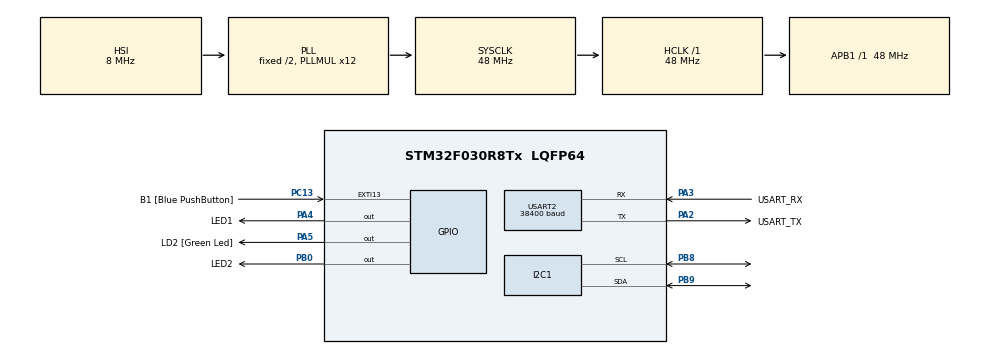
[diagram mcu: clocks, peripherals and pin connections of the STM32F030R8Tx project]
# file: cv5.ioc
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Dma.Request0=USART2_RX
Dma.USART2_RX.0.Direction=DMA_PERIPH_TO_MEMORY
Dma.USART2_RX.0.Instance=DMA1_Channel5
Dma.USART2_RX.0.MemDataAlignment=DMA_MDATAALIGN_BYTE
Dma.USART2_RX.0.MemInc=DMA_MINC_ENABLE
Dma.USART2_RX.0.Mode=DMA_CIRCULAR
Dma.USART2_RX.0.PeriphDataAlignment=DMA_PDATAALIGN_BYTE
Dma.USART2_RX.0.PeriphInc=DMA_PINC_DISABLE
Dma.USART2_RX.0.Priority=DMA_PRIORITY_LOW
I2C1.Timing=0x00201D2B
Mcu.Family=STM32F0
Mcu.Name=STM32F030R8Tx
Mcu.Package=LQFP64
NVIC.DMA1_Channel4_5_IRQn=true\:0\:0\:false\:false\:true\:false\:true\:true
PA13.GPIO_Label=TMS
PA13.Mode=Serial_Wire
PA13.Signal=SYS_SWDIO
PA14.GPIO_Label=TCK
PA14.Mode=Serial_Wire
PA14.Signal=SYS_SWCLK
PA2.GPIO_Label=USART_TX
PA2.GPIO_Mode=GPIO_MODE_AF_PP
PA2.GPIO_PuPd=GPIO_NOPULL
PA2.GPIO_Speed=GPIO_SPEED_FREQ_LOW
PA2.Mode=Asynchronous
PA2.Signal=USART2_TX
PA3.GPIO_Label=USART_RX
PA3.GPIO_Mode=GPIO_MODE_AF_PP
PA3.GPIO_PuPd=GPIO_NOPULL
PA3.GPIO_Speed=GPIO_SPEED_FREQ_LOW
PA3.Mode=Asynchronous
PA3.Signal=USART2_RX
PA4.GPIO_Label=LED1
PA4.Signal=GPIO_Output
PA5.GPIO_Label=LD2 [Green Led]
PA5.GPIO_Mode=GPIO_MODE_OUTPUT_PP
PA5.GPIO_PuPd=GPIO_NOPULL
PA5.GPIO_Speed=GPIO_SPEED_FREQ_LOW
PA5.Signal=GPIO_Output
PB0.GPIO_Label=LED2
PB0.Signal=GPIO_Output
PB8.Mode=I2C
PB8.Signal=I2C1_SCL
PB9.Mode=I2C
PB9.Signal=I2C1_SDA
PC13.GPIO_Label=B1 [Blue PushButton]
PC13.GPIO_ModeDefaultEXTI=GPIO_MODE_IT_FALLING
PC13.Signal=GPXTI13
PC14-OSC32_IN.Mode=LSE-External-Oscillator
PC14-OSC32_IN.Signal=RCC_OSC32_IN
PC15-OSC32_OUT.Mode=LSE-External-Oscillator
PC15-OSC32_OUT.Signal=RCC_OSC32_OUT
PF0-OSC_IN.Mode=HSE-External-Clock-Source
PF0-OSC_IN.Signal=RCC_OSC_IN
PF1-OSC_OUT.Signal=RCC_OSC_OUT
ProjectManager.HeapSize=0x200
ProjectManager.StackSize=0x400
ProjectManager.TargetToolchain=STM32CubeIDE
RCC.AHBFreq_Value=48000000
RCC.APB1Freq_Value=48000000
RCC.APB1TimFreq_Value=48000000
RCC.HCLKFreq_Value=48000000
RCC.PLLMUL=RCC_PLL_MUL12
RCC.SYSCLKFreq_VALUE=48000000
RCC.SYSCLKSource=RCC_SYSCLKSOURCE_PLLCLK
USART2.BaudRate=38400
USART2.VirtualMode-Asynchronous=VM_ASYNC
board=NUCLEO-F030R8

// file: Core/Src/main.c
/* USER CODE BEGIN Header */
/**
 ******************************************************************************
 * @file           : main.c
 * @brief          : Main program body
 ******************************************************************************
 * @attention
 *
 * Copyright (c) 2024 STMicroelectronics.
 * All rights reserved.
 *
 * This software is licensed under terms that can be found in the LICENSE file
 * in the root directory of this software component.
 * If no LICENSE file comes with this software, it is provided AS-IS.
 *
 ******************************************************************************
 */
/* USER CODE END Header */
#include "main.h"

/* USER CODE BEGIN Includes */
#include <string.h>
#include <stdio.h>
#include <stdlib.h>
/* USER CODE END Includes */

I2C_HandleTypeDef hi2c1;

UART_HandleTypeDef huart2;
DMA_HandleTypeDef hdma_usart2_rx;

/* USER CODE BEGIN PV */
#define RX_BUFFER_LEN 64
#define CMD_BUFFER_LEN 128
static uint8_t uart_rx_buf[RX_BUFFER_LEN];
static volatile uint16_t uart_rx_read_ptr = 0;
#define uart_rx_write_ptr (RX_BUFFER_LEN - hdma_usart2_rx.Instance->CNDTR)
#define EEPROM_ADDR 0xA0
/* USER CODE END PV */

void SystemClock_Config(void);
static void MX_GPIO_Init(void);
static void MX_DMA_Init(void);
static void MX_USART2_UART_Init(void);
static void MX_I2C1_Init(void);

/* USER CODE BEGIN 0 */
static void uart_process_command(char *cmd) {

	//printf("%s\n", cmd);

	char *token;

	token = strtok(cmd, " ");
	if (strcasecmp(token, "HELLO") == 0) {
		printf("Communication OK\n");

	}

	//---------------LED1---------------
	else if (strcasecmp(token, "LED1") == 0) {
		token = strtok(NULL, " ");
		if (strcasecmp(token, "ON") == 0) {
			// Turn LED1 ON
			HAL_GPIO_WritePin(LED1_GPIO_Port, LED1_Pin, GPIO_PIN_SET);
			printf("LED1 turned ON\n");
		} else if (strcasecmp(token, "OFF") == 0) {
			// Turn LED1 OFF
			HAL_GPIO_WritePin(LED1_GPIO_Port, LED1_Pin, GPIO_PIN_RESET);
			printf("LED1 turned OFF\n");
		}

	}

	//---------------LED2---------------
	else if (strcasecmp(token, "LED2") == 0) {
		token = strtok(NULL, " ");
		if (strcasecmp(token, "ON") == 0) {
			// Turn LED2 ON
			HAL_GPIO_WritePin(LED2_GPIO_Port, LED2_Pin, GPIO_PIN_SET);
			printf("LED2 turned ON\n");
		} else if (strcasecmp(token, "OFF") == 0) {
			// Turn LED2 OFF
			HAL_GPIO_WritePin(LED2_GPIO_Port, LED2_Pin, GPIO_PIN_RESET);
			printf("LED2 turned OFF\n");
		}

	}

	//---------------STAUS OF LEDS---------------
	else if (strcasecmp(token, "STATUS") == 0) {

		uint8_t led1_status = HAL_GPIO_ReadPin(LED1_GPIO_Port, LED1_Pin);
		uint8_t led2_status = HAL_GPIO_ReadPin(LED2_GPIO_Port, LED2_Pin);

		printf("Status:\n");
		printf("  LED1: %s\n", led1_status ? "ON" : "OFF");
		printf("  LED2: %s\n", led2_status ? "ON" : "OFF");
	}

	//---------------MEMORY---------------
	else if (strcasecmp(token, "READ") == 0) {
		token = strtok(NULL, " ");
		uint16_t Addr = atoi(token);
		uint8_t value;
		HAL_I2C_Mem_Read(&hi2c1, EEPROM_ADDR, Addr, I2C_MEMADD_SIZE_16BIT, &value, 1, 1000);
		//while (HAL_I2C_IsDeviceReady(&hi2c1, EEPROM_ADDR, 300, 1000) != HAL_OK) {}
		printf("Address %02x: %02x\n", Addr, value);
		printf("OK\n");
	}

	else if (strcasecmp(token, "WRITE") == 0) {
		token = strtok(NULL, " ");
		uint16_t Addr = atoi(token);
		token = strtok(NULL, " ");
		uint8_t value = atoi(token);
		HAL_I2C_Mem_Write(&hi2c1, EEPROM_ADDR, Addr, I2C_MEMADD_SIZE_16BIT, &value, 1, 1000);
		printf("Written %02x: %02x\n", Addr, value);

		//while (HAL_I2C_IsDeviceReady(&hi2c1, EEPROM_ADDR, 300, 1000) != HAL_OK) {}
		printf("OK\n");
	}

	else if (strcasecmp(token, "DUMP") == 0) {
		uint8_t value;
		printf("DUMP:\n");
		for (uint16_t Addr = 0; Addr < 16; Addr++) {
			HAL_I2C_Mem_Read(&hi2c1, EEPROM_ADDR, Addr, I2C_MEMADD_SIZE_16BIT, &value, 1, 1000);
			while (HAL_I2C_IsDeviceReady(&hi2c1, EEPROM_ADDR, 300, 1000) != HAL_OK) {}
			printf("%02X ", value);
			if(Addr%8 == 7) printf("\n");
		}
	}

}

static void uart_byte_available(uint8_t c)
{
	static uint16_t cnt;
	static char data[CMD_BUFFER_LEN];
	if (cnt < CMD_BUFFER_LEN && c >= 32 && c <= 126) data[cnt++] = c;
	if ((c == '\n' || c == '\r') && cnt > 0) {
		data[cnt] = '\0';
		uart_process_command(data);
		cnt = 0;
	}
}

/* USER CODE END 0 */

int main(void)
{

  /* MCU Configuration--------------------------------------------------------*/

  /* Reset of all peripherals, Initializes the Flash interface and the Systick. */
  HAL_Init();

  /* Configure the system clock */
  SystemClock_Config();

  /* Initialize all configured peripherals */
  MX_GPIO_Init();
  MX_DMA_Init();
  MX_USART2_UART_Init();
  MX_I2C1_Init();
  /* USER CODE BEGIN 2 */
	HAL_UART_Receive_DMA(&huart2, uart_rx_buf, RX_BUFFER_LEN);
  /* USER CODE END 2 */

  /* Infinite loop */
  /* USER CODE BEGIN WHILE */
	while (1)
	{
		while (uart_rx_read_ptr != uart_rx_write_ptr) {
			uint8_t b = uart_rx_buf[uart_rx_read_ptr];
			// increase read pointer
			if (++uart_rx_read_ptr >= RX_BUFFER_LEN) uart_rx_read_ptr = 0;
			// process every received byte with the RX state machine
			uart_byte_available(b);
		}

    /* USER CODE END WHILE */

	}
}

void SystemClock_Config(void)
{
  RCC_OscInitTypeDef RCC_OscInitStruct = {0};
  RCC_ClkInitTypeDef RCC_ClkInitStruct = {0};
  RCC_PeriphCLKInitTypeDef PeriphClkInit = {0};

  /** Initializes the RCC Oscillators according to the specified parameters
  * in the RCC_OscInitTypeDef structure.
  */
  RCC_OscInitStruct.OscillatorType = RCC_OSCILLATORTYPE_HSI;
  RCC_OscInitStruct.HSIState = RCC_HSI_ON;
  RCC_OscInitStruct.HSICalibrationValue = RCC_HSICALIBRATION_DEFAULT;
  RCC_OscInitStruct.PLL.PLLState = RCC_PLL_ON;
  RCC_OscInitStruct.PLL.PLLSource = RCC_PLLSOURCE_HSI;
  RCC_OscInitStruct.PLL.PLLMUL = RCC_PLL_MUL12;
  RCC_OscInitStruct.PLL.PREDIV = RCC_PREDIV_DIV1;
  if (HAL_RCC_OscConfig(&RCC_OscInitStruct) != HAL_OK)
  {
    Error_Handler();
  }

  /** Initializes the CPU, AHB and APB buses clocks
  */
  RCC_ClkInitStruct.ClockType = RCC_CLOCKTYPE_HCLK|RCC_CLOCKTYPE_SYSCLK
                              |RCC_CLOCKTYPE_PCLK1;
  RCC_ClkInitStruct.SYSCLKSource = RCC_SYSCLKSOURCE_PLLCLK;
  RCC_ClkInitStruct.AHBCLKDivider = RCC_SYSCLK_DIV1;
  RCC_ClkInitStruct.APB1CLKDivider = RCC_HCLK_DIV1;

  if (HAL_RCC_ClockConfig(&RCC_ClkInitStruct, FLASH_LATENCY_1) != HAL_OK)
  {
    Error_Handler();
  }
  PeriphClkInit.PeriphClockSelection = RCC_PERIPHCLK_I2C1;
  PeriphClkInit.I2c1ClockSelection = RCC_I2C1CLKSOURCE_HSI;
  if (HAL_RCCEx_PeriphCLKConfig(&PeriphClkInit) != HAL_OK)
  {
    Error_Handler();
  }
}

static void MX_I2C1_Init(void)
{

  hi2c1.Instance = I2C1;
  hi2c1.Init.Timing = 0x00201D2B;
  hi2c1.Init.OwnAddress1 = 0;
  hi2c1.Init.AddressingMode = I2C_ADDRESSINGMODE_7BIT;
  hi2c1.Init.DualAddressMode = I2C_DUALADDRESS_DISABLE;
  hi2c1.Init.OwnAddress2 = 0;
  hi2c1.Init.OwnAddress2Masks = I2C_OA2_NOMASK;
  hi2c1.Init.GeneralCallMode = I2C_GENERALCALL_DISABLE;
  hi2c1.Init.NoStretchMode = I2C_NOSTRETCH_DISABLE;
  if (HAL_I2C_Init(&hi2c1) != HAL_OK)
  {
    Error_Handler();
  }

  /** Configure Analogue filter
  */
  if (HAL_I2CEx_ConfigAnalogFilter(&hi2c1, I2C_ANALOGFILTER_ENABLE) != HAL_OK)
  {
    Error_Handler();
  }

  /** Configure Digital filter
  */
  if (HAL_I2CEx_ConfigDigitalFilter(&hi2c1, 0) != HAL_OK)
  {
    Error_Handler();
  }

}

static void MX_USART2_UART_Init(void)
{

  huart2.Instance = USART2;
  huart2.Init.BaudRate = 38400;
  huart2.Init.WordLength = UART_WORDLENGTH_8B;
  huart2.Init.StopBits = UART_STOPBITS_1;
  huart2.Init.Parity = UART_PARITY_NONE;
  huart2.Init.Mode = UART_MODE_TX_RX;
  huart2.Init.HwFlowCtl = UART_HWCONTROL_NONE;
  huart2.Init.OverSampling = UART_OVERSAMPLING_16;
  huart2.Init.OneBitSampling = UART_ONE_BIT_SAMPLE_DISABLE;
  huart2.AdvancedInit.AdvFeatureInit = UART_ADVFEATURE_NO_INIT;
  if (HAL_UART_Init(&huart2) != HAL_OK)
  {
    Error_Handler();
  }

}

static void MX_DMA_Init(void)
{

  /* DMA controller clock enable */
  __HAL_RCC_DMA1_CLK_ENABLE();

  /* DMA interrupt init */
  /* DMA1_Channel4_5_IRQn interrupt configuration */
  HAL_NVIC_SetPriority(DMA1_Channel4_5_IRQn, 0, 0);
  HAL_NVIC_EnableIRQ(DMA1_Channel4_5_IRQn);

}

static void MX_GPIO_Init(void)
{
  GPIO_InitTypeDef GPIO_InitStruct = {0};

  /* GPIO Ports Clock Enable */
  __HAL_RCC_GPIOC_CLK_ENABLE();
  __HAL_RCC_GPIOF_CLK_ENABLE();
  __HAL_RCC_GPIOA_CLK_ENABLE();
  __HAL_RCC_GPIOB_CLK_ENABLE();

  /*Configure GPIO pin Output Level */
  HAL_GPIO_WritePin(GPIOA, LED1_Pin|LD2_Pin, GPIO_PIN_RESET);

  /*Configure GPIO pin Output Level */
  HAL_GPIO_WritePin(LED2_GPIO_Port, LED2_Pin, GPIO_PIN_RESET);

  /*Configure GPIO pin : B1_Pin */
  GPIO_InitStruct.Pin = B1_Pin;
  GPIO_InitStruct.Mode = GPIO_MODE_IT_FALLING;
  GPIO_InitStruct.Pull = GPIO_NOPULL;
  HAL_GPIO_Init(B1_GPIO_Port, &GPIO_InitStruct);

  /*Configure GPIO pins : LED1_Pin LD2_Pin */
  GPIO_InitStruct.Pin = LED1_Pin|LD2_Pin;
  GPIO_InitStruct.Mode = GPIO_MODE_OUTPUT_PP;
  GPIO_InitStruct.Pull = GPIO_NOPULL;
  GPIO_InitStruct.Speed = GPIO_SPEED_FREQ_LOW;
  HAL_GPIO_Init(GPIOA, &GPIO_InitStruct);

  /*Configure GPIO pin : LED2_Pin */
  GPIO_InitStruct.Pin = LED2_Pin;
  GPIO_InitStruct.Mode = GPIO_MODE_OUTPUT_PP;
  GPIO_InitStruct.Pull = GPIO_NOPULL;
  GPIO_InitStruct.Speed = GPIO_SPEED_FREQ_LOW;
  HAL_GPIO_Init(LED2_GPIO_Port, &GPIO_InitStruct);

}

/* USER CODE BEGIN 4 */
int _write(int file, char const *buf, int n)
{
	/* stdout redirection to UART2 */
	HAL_UART_Transmit(&huart2, (uint8_t*)(buf), n, HAL_MAX_DELAY);
	return n;
}

/* USER CODE END 4 */

void Error_Handler(void)
{
	__disable_irq();
	while (1)
	{
	}
}
